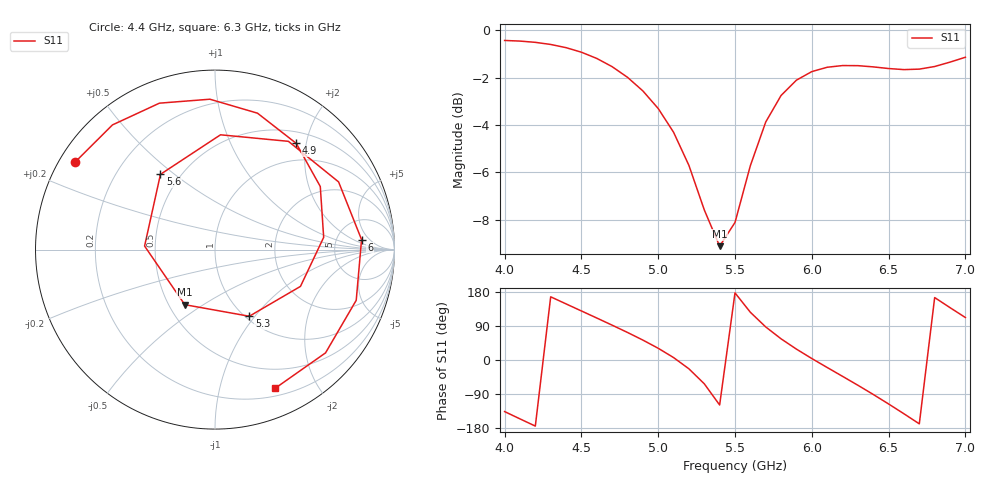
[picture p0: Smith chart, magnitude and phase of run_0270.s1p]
! Touchstone file exported from HFSS 2024.2.0
!  File:  C:/Users/wsak9/Desktop/Sim Fast/Widenad Patch/WP_AI_V1_sweep.aedt
!  Generated:  02:21:39 AM Oct 14, 2026
!  Design:  A1_model
!  Project:  WP_AI_V1_sweep
!  Setup:  Setup1
!  Solution:  Sweep
! Variables:
!  Air_gap = 4.93mm
!  Curve_Amp1 = 1.94
!  Curve_len1 = 1
!  Curve_pos = 11.07mm
!  Extra = 0.91mm
!  H_sub = 0.79mm
!  L_Patch = 18.14mm
!  L_Patch1 = 15.64mm
!  Sx = 3.56mm
!  Sy = 2.64mm
!  WS = 1.42mm
!  W_Patch = 12.58mm
!  W_Patch1 = 14.73mm
!Data is not renormalized
# GHz S MA
! Terminal data exported
! Port[1] = 1
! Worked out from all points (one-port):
!   31 points, 4 GHz to 7 GHz, reference per port
!   lowest |S11| = -9.1 dB at 5.4 GHz (marker M1), VSWR 2.08
!   |S11| at or under -10 dB: nowhere
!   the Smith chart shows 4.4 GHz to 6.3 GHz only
!   S11 on the Smith chart (normalised r, x): 4.4 GHz: 0.05, +0.29; 4.9 GHz: 0.68, +1.82; 5.3 GHz: 1.04, -0.94; 5.6 GHz: 0.39, +0.45; 6 GHz: 8.98, +3.03; 6.3 GHz: 0.28, -1.48
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4  0.9524 -136.1
4.1  0.9495 -155.4
4.2  0.9437 -174.4
4.4  0.9196 148.0
4.6  0.8726 110.8
4.8  0.7961 72.7
4.9  0.7451 52.6
5  0.6839 30.9
5.1  0.6093 6.4
5.2  0.5185 -23.3
5.3  0.4176 -62.8
5.4  0.35 -118.7
5.5  0.3928 177.1
5.6  0.5179 125.9
5.7  0.6403 87.3
5.8  0.7287 55.9
5.9  0.7851 28.7
6  0.8185 3.9
6.1  0.836 -19.7
6.2  0.8428 -43.1
6.3  0.8425 -66.6
6.4  0.8375 -90.9
6.5  0.8308 -116.0
6.6  0.8264 -141.9
6.7  0.8284 -168.5
6.8  0.839 164.8
6.9  0.8571 138.1
7  0.8777 112.1
